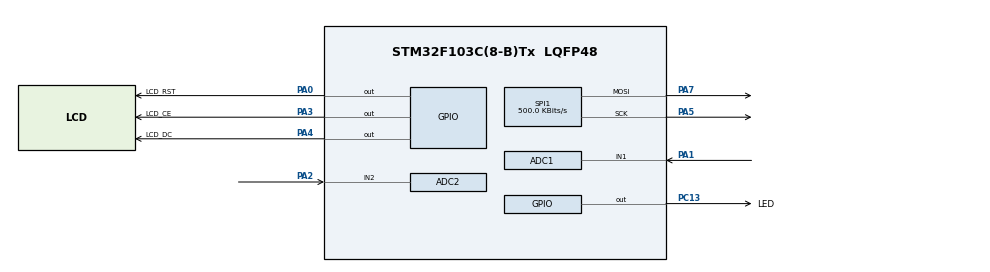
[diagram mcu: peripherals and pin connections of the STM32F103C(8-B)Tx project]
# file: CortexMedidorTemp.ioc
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ADC1.Channel-0\#ChannelRegularConversion=ADC_CHANNEL_1
ADC1.NbrOfConversionFlag=1
ADC1.Rank-0\#ChannelRegularConversion=1
ADC1.SamplingTime-0\#ChannelRegularConversion=ADC_SAMPLETIME_1CYCLE_5
ADC1.master=1
ADC2.Channel-0\#ChannelRegularConversion=ADC_CHANNEL_2
ADC2.NbrOfConversion=1
ADC2.NbrOfConversionFlag=1
ADC2.Rank-0\#ChannelRegularConversion=1
ADC2.SamplingTime-0\#ChannelRegularConversion=ADC_SAMPLETIME_1CYCLE_5
FREERTOS.Mutexes01=MutexS01,Dynamic,NULL;MutexS02,Dynamic,NULL;MutexSerial,Dynamic,NULL
FREERTOS.Tasks01=sensor01Task,0,128,StartSensor01Task,Default,NULL,Dynamic,NULL,NULL;sensor02Task,-3,128,StartSensor02Task,Default,NULL,Dynamic,NULL,NULL;displayTask,-3,128,StartdisplayTask,Default,NULL,Dynamic,NULL,NULL
Mcu.Family=STM32F1
Mcu.Name=STM32F103C(8-B)Tx
Mcu.Package=LQFP48
NVIC.PriorityGroup=NVIC_PRIORITYGROUP_4
NVIC.TIM1_UP_IRQn=true\:0\:0\:false\:false\:true\:false\:false\:true
NVIC.TimeBase=TIM1_UP_IRQn
NVIC.TimeBaseIP=TIM1
PA0-WKUP.GPIO_Label=LCD_RST
PA0-WKUP.Signal=GPIO_Output
PA1.Signal=ADCx_IN1
PA13.Mode=Serial_Wire
PA13.Signal=SYS_JTMS-SWDIO
PA14.Mode=Serial_Wire
PA14.Signal=SYS_JTCK-SWCLK
PA2.Signal=ADCx_IN2
PA3.GPIO_Label=LCD_CE
PA3.Signal=GPIO_Output
PA4.GPIO_Label=LCD_DC
PA4.Signal=GPIO_Output
PA5.Mode=TX_Only_Simplex_Unidirect_Master
PA5.Signal=SPI1_SCK
PA7.Mode=TX_Only_Simplex_Unidirect_Master
PA7.Signal=SPI1_MOSI
PC13-TAMPER-RTC.GPIO_Label=LED
PC13-TAMPER-RTC.Signal=GPIO_Output
ProjectManager.HeapSize=0x200
ProjectManager.StackSize=0x400
ProjectManager.TargetToolchain=STM32CubeIDE
RCC.APB1Freq_Value=8000000
RCC.APB2Freq_Value=8000000
SH.ADCx_IN1.0=ADC1_IN1,IN1
SH.ADCx_IN2.0=ADC2_IN2,IN2
SPI1.BaudRatePrescaler=SPI_BAUDRATEPRESCALER_16
SPI1.CalculateBaudRate=500.0 KBits/s
SPI1.Direction=SPI_DIRECTION_2LINES
SPI1.Mode=SPI_MODE_MASTER
SPI1.VirtualType=VM_MASTER
VP_FREERTOS_VS_CMSIS_V1.Mode=CMSIS_V1
VP_SYS_VS_tim1.Mode=TIM1
board=custom

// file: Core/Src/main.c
/* USER CODE BEGIN Header */
/**
  ******************************************************************************
  * @file           : main.c
  * @brief          : Main program body
  ******************************************************************************
  * @attention
  *
  * <h2><center>&copy; Copyright (c) 2020 STMicroelectronics.
  * All rights reserved.</center></h2>
  *
  * This software component is licensed by ST under BSD 3-Clause license,
  * the "License"; You may not use this file except in compliance with the
  * License. You may obtain a copy of the License at:
  *                        opensource.org/licenses/BSD-3-Clause
  *
  ******************************************************************************
  */
/* USER CODE END Header */
#include "main.h"
#include "cmsis_os.h"

/* USER CODE BEGIN Includes */
#include "user_5110.h"
#include <stdio.h>
/* USER CODE END Includes */

/* USER CODE BEGIN PTD */
struct leitorAD{
	int32_t buffer[10];
	int length;
	int current;
};
struct leitorAD ad1;
struct leitorAD ad2;
char buffer[50];
/* USER CODE END PTD */

ADC_HandleTypeDef hadc1;
ADC_HandleTypeDef hadc2;

SPI_HandleTypeDef hspi1;

osThreadId sensor01TaskHandle;
osThreadId sensor02TaskHandle;
osThreadId displayTaskHandle;
osMutexId MutexS01Handle;
osMutexId MutexS02Handle;
osMutexId MutexSerialHandle;

void SystemClock_Config(void);
static void MX_GPIO_Init(void);
static void MX_SPI1_Init(void);
static void MX_ADC1_Init(void);
static void MX_ADC2_Init(void);
void StartSensor01Task(void const * argument);
void StartSensor02Task(void const * argument);
void StartdisplayTask(void const * argument);

/* USER CODE BEGIN PFP */
static int32_t adRead(ADC_HandleTypeDef* hadc);
static void init(struct leitorAD* this);
static void next(struct leitorAD* this);
static void writeBuffer(struct leitorAD* this,int num);
static int calcMedia(struct leitorAD* this);
static int getTemp(struct leitorAD* this);
static int difTemp(struct leitorAD* this, struct leitorAD* other);
static int diftep(int a,int b){int n = a-b;return n<0?-n:n;}
static void writeSafe(struct leitorAD* this,osMutexId* mutex,ADC_HandleTypeDef* hadc);
static int getSafe(struct leitorAD* this,osMutexId* mutex);
static void writeSerialSafe(int line,char* word);
/* USER CODE END PFP */

int main(void)
{

  /* MCU Configuration--------------------------------------------------------*/

  /* Reset of all peripherals, Initializes the Flash interface and the Systick. */
  HAL_Init();

  /* Configure the system clock */
  SystemClock_Config();

  /* Initialize all configured peripherals */
  MX_GPIO_Init();
  MX_SPI1_Init();
  MX_ADC1_Init();
  MX_ADC2_Init();
  /* USER CODE BEGIN 2 */
  init(&ad1);
  init(&ad2);
//  LCD_Init();
//  LCD_Write_String(0,0, "teste");
  /* USER CODE END 2 */

  /* Create the mutex(es) */
  /* definition and creation of MutexS01 */
  osMutexDef(MutexS01);
  MutexS01Handle = osMutexCreate(osMutex(MutexS01));

  /* definition and creation of MutexS02 */
  osMutexDef(MutexS02);
  MutexS02Handle = osMutexCreate(osMutex(MutexS02));

  /* definition and creation of MutexSerial */
  osMutexDef(MutexSerial);
  MutexSerialHandle = osMutexCreate(osMutex(MutexSerial));

  /* Create the thread(s) */
  /* definition and creation of sensor01Task */
  osThreadDef(sensor01Task, StartSensor01Task, osPriorityNormal, 0, 128);
  sensor01TaskHandle = osThreadCreate(osThread(sensor01Task), NULL);

  /* definition and creation of sensor02Task */
  osThreadDef(sensor02Task, StartSensor02Task, osPriorityIdle, 0, 128);
  sensor02TaskHandle = osThreadCreate(osThread(sensor02Task), NULL);

  /* definition and creation of displayTask */
  osThreadDef(displayTask, StartdisplayTask, osPriorityIdle, 0, 128);
  displayTaskHandle = osThreadCreate(osThread(displayTask), NULL);

  /* Start scheduler */
  osKernelStart();

  /* We should never get here as control is now taken by the scheduler */
  /* Infinite loop */
  /* USER CODE BEGIN WHILE */
  while (1)
  {
//	  HAL_GPIO_TogglePin(LED_GPIO_Port, LED_Pin);
//	  HAL_Delay(1000);
//	  writeBuffer(&ad1, adRead(&hadc1));
//	  sprintf(buffer,"%04d C",getTemp(&ad1));
//	  LCD_Write_String(0, 1, buffer);
//	  writeBuffer(&ad2, adRead(&hadc2));
//	  sprintf(buffer,"%04d C",getTemp(&ad2));
//	  LCD_Write_String(0, 2, buffer);
//	  HAL_Delay(200);
    /* USER CODE END WHILE */

  }
}

void SystemClock_Config(void)
{
  RCC_OscInitTypeDef RCC_OscInitStruct = {0};
  RCC_ClkInitTypeDef RCC_ClkInitStruct = {0};
  RCC_PeriphCLKInitTypeDef PeriphClkInit = {0};

  /** Initializes the RCC Oscillators according to the specified parameters
  * in the RCC_OscInitTypeDef structure.
  */
  RCC_OscInitStruct.OscillatorType = RCC_OSCILLATORTYPE_HSI;
  RCC_OscInitStruct.HSIState = RCC_HSI_ON;
  RCC_OscInitStruct.HSICalibrationValue = RCC_HSICALIBRATION_DEFAULT;
  RCC_OscInitStruct.PLL.PLLState = RCC_PLL_NONE;
  if (HAL_RCC_OscConfig(&RCC_OscInitStruct) != HAL_OK)
  {
    Error_Handler();
  }
  /** Initializes the CPU, AHB and APB buses clocks
  */
  RCC_ClkInitStruct.ClockType = RCC_CLOCKTYPE_HCLK|RCC_CLOCKTYPE_SYSCLK
                              |RCC_CLOCKTYPE_PCLK1|RCC_CLOCKTYPE_PCLK2;
  RCC_ClkInitStruct.SYSCLKSource = RCC_SYSCLKSOURCE_HSI;
  RCC_ClkInitStruct.AHBCLKDivider = RCC_SYSCLK_DIV1;
  RCC_ClkInitStruct.APB1CLKDivider = RCC_HCLK_DIV1;
  RCC_ClkInitStruct.APB2CLKDivider = RCC_HCLK_DIV1;

  if (HAL_RCC_ClockConfig(&RCC_ClkInitStruct, FLASH_LATENCY_0) != HAL_OK)
  {
    Error_Handler();
  }
  PeriphClkInit.PeriphClockSelection = RCC_PERIPHCLK_ADC;
  PeriphClkInit.AdcClockSelection = RCC_ADCPCLK2_DIV2;
  if (HAL_RCCEx_PeriphCLKConfig(&PeriphClkInit) != HAL_OK)
  {
    Error_Handler();
  }
}

static void MX_ADC1_Init(void)
{

  ADC_ChannelConfTypeDef sConfig = {0};

  /** Common config
  */
  hadc1.Instance = ADC1;
  hadc1.Init.ScanConvMode = ADC_SCAN_DISABLE;
  hadc1.Init.ContinuousConvMode = DISABLE;
  hadc1.Init.DiscontinuousConvMode = DISABLE;
  hadc1.Init.ExternalTrigConv = ADC_SOFTWARE_START;
  hadc1.Init.DataAlign = ADC_DATAALIGN_RIGHT;
  hadc1.Init.NbrOfConversion = 1;
  if (HAL_ADC_Init(&hadc1) != HAL_OK)
  {
    Error_Handler();
  }
  /** Configure Regular Channel
  */
  sConfig.Channel = ADC_CHANNEL_1;
  sConfig.Rank = ADC_REGULAR_RANK_1;
  sConfig.SamplingTime = ADC_SAMPLETIME_1CYCLE_5;
  if (HAL_ADC_ConfigChannel(&hadc1, &sConfig) != HAL_OK)
  {
    Error_Handler();
  }

}

static void MX_ADC2_Init(void)
{

  ADC_ChannelConfTypeDef sConfig = {0};

  /** Common config
  */
  hadc2.Instance = ADC2;
  hadc2.Init.ScanConvMode = ADC_SCAN_DISABLE;
  hadc2.Init.ContinuousConvMode = DISABLE;
  hadc2.Init.DiscontinuousConvMode = DISABLE;
  hadc2.Init.ExternalTrigConv = ADC_SOFTWARE_START;
  hadc2.Init.DataAlign = ADC_DATAALIGN_RIGHT;
  hadc2.Init.NbrOfConversion = 1;
  if (HAL_ADC_Init(&hadc2) != HAL_OK)
  {
    Error_Handler();
  }
  /** Configure Regular Channel
  */
  sConfig.Channel = ADC_CHANNEL_2;
  sConfig.Rank = ADC_REGULAR_RANK_1;
  sConfig.SamplingTime = ADC_SAMPLETIME_1CYCLE_5;
  if (HAL_ADC_ConfigChannel(&hadc2, &sConfig) != HAL_OK)
  {
    Error_Handler();
  }

}

static void MX_SPI1_Init(void)
{

  /* SPI1 parameter configuration*/
  hspi1.Instance = SPI1;
  hspi1.Init.Mode = SPI_MODE_MASTER;
  hspi1.Init.Direction = SPI_DIRECTION_2LINES;
  hspi1.Init.DataSize = SPI_DATASIZE_8BIT;
  hspi1.Init.CLKPolarity = SPI_POLARITY_LOW;
  hspi1.Init.CLKPhase = SPI_PHASE_1EDGE;
  hspi1.Init.NSS = SPI_NSS_SOFT;
  hspi1.Init.BaudRatePrescaler = SPI_BAUDRATEPRESCALER_16;
  hspi1.Init.FirstBit = SPI_FIRSTBIT_MSB;
  hspi1.Init.TIMode = SPI_TIMODE_DISABLE;
  hspi1.Init.CRCCalculation = SPI_CRCCALCULATION_DISABLE;
  hspi1.Init.CRCPolynomial = 10;
  if (HAL_SPI_Init(&hspi1) != HAL_OK)
  {
    Error_Handler();
  }

}

static void MX_GPIO_Init(void)
{
  GPIO_InitTypeDef GPIO_InitStruct = {0};

  /* GPIO Ports Clock Enable */
  __HAL_RCC_GPIOC_CLK_ENABLE();
  __HAL_RCC_GPIOA_CLK_ENABLE();

  /*Configure GPIO pin Output Level */
  HAL_GPIO_WritePin(LED_GPIO_Port, LED_Pin, GPIO_PIN_RESET);

  /*Configure GPIO pin Output Level */
  HAL_GPIO_WritePin(GPIOA, LCD_RST_Pin|LCD_CE_Pin|LCD_DC_Pin, GPIO_PIN_RESET);

  /*Configure GPIO pin : LED_Pin */
  GPIO_InitStruct.Pin = LED_Pin;
  GPIO_InitStruct.Mode = GPIO_MODE_OUTPUT_PP;
  GPIO_InitStruct.Pull = GPIO_NOPULL;
  GPIO_InitStruct.Speed = GPIO_SPEED_FREQ_LOW;
  HAL_GPIO_Init(LED_GPIO_Port, &GPIO_InitStruct);

  /*Configure GPIO pins : LCD_RST_Pin LCD_CE_Pin LCD_DC_Pin */
  GPIO_InitStruct.Pin = LCD_RST_Pin|LCD_CE_Pin|LCD_DC_Pin;
  GPIO_InitStruct.Mode = GPIO_MODE_OUTPUT_PP;
  GPIO_InitStruct.Pull = GPIO_NOPULL;
  GPIO_InitStruct.Speed = GPIO_SPEED_FREQ_LOW;
  HAL_GPIO_Init(GPIOA, &GPIO_InitStruct);

}

/* USER CODE BEGIN 4 */
static int32_t adRead(ADC_HandleTypeDef* hadc){
	HAL_ADC_Start(hadc);
	while(HAL_ADC_PollForConversion(hadc, 5)!= HAL_OK){}
	return HAL_ADC_GetValue(hadc);
}
static void next(struct leitorAD* this){
	this->current=(this->current+1)%this->length;
}
static void init(struct leitorAD* this){
	this->current =0;
	this->length =10;
	for(int i =0 ;i<this->length;i++){
		this->buffer[i]=0;
	}
}
static void writeBuffer(struct leitorAD* this,int num){
	this->buffer[this->current]=num;
	next(this);
}
static int calcMedia(struct leitorAD* this){
	int soma =0;
	for(int i = 0; i<this->length;i++){
		soma += this->buffer[i];
	}
	return soma/this->length;
}
static int getTemp(struct leitorAD* this){
	return 100*calcMedia(this)/4095;
}
static int difTemp(struct leitorAD* this, struct leitorAD* other){
	int val = getTemp(this)-getTemp(other);
	return val<0?-val:val;
}
static void writeSafe(struct leitorAD* this,osMutexId* mutex,ADC_HandleTypeDef* hadc){
	osMutexWait(*mutex, 100);
	writeBuffer(this, adRead(hadc));
	osMutexRelease(*mutex);
}
static int getSafe(struct leitorAD* this,osMutexId* mutex){
	osMutexWait(*mutex, 150);
	int temp = getTemp(this);
	osMutexRelease(*mutex);
	return temp;
}
static void writeSerialSafe(int line,char* word){
	osMutexWait(MutexSerialHandle, 100);
	LCD_Write_String(0, line, word);
	osMutexRelease(MutexSerialHandle);
}
/* USER CODE END 4 */

void StartSensor01Task(void const * argument)
{
  /* USER CODE BEGIN 5 */
  /* Infinite loop */
  for(;;)
  {
	  writeSafe(&ad1, &MutexS01Handle, &hadc1);
	  osDelay(300);
  }
  /* USER CODE END 5 */
}

void StartSensor02Task(void const * argument)
{
  /* USER CODE BEGIN StartSensor02Task */
  /* Infinite loop */
  for(;;)
  {
	writeSafe(&ad2, &MutexS02Handle, &hadc2);
    osDelay(300);
  }
  /* USER CODE END StartSensor02Task */
}

void StartdisplayTask(void const * argument)
{
  /* USER CODE BEGIN StartdisplayTask */
  /* Infinite loop */
	LCD_Init();
	LCD_Write_String(0, 0, "Temperatura:");
  for(;;)
  {
	int t1= getSafe(&ad1, &MutexS01Handle);
	int t2= getSafe(&ad2, &MutexS02Handle);
	sprintf(buffer,"T1 %03d C",t1);
	writeSerialSafe(1, buffer);
	sprintf(buffer,"T2 %03d C",t2);
	writeSerialSafe(2, buffer);
	if(diftep(t1, t2)>10){
		writeSerialSafe(3, "Alerta");
		HAL_GPIO_WritePin(LED_GPIO_Port, LED_Pin, 0);
	}else{
		writeSerialSafe(3, "------");
		HAL_GPIO_WritePin(LED_GPIO_Port, LED_Pin, 1);
	}
	osDelay(5000);
  }
  /* USER CODE END StartdisplayTask */
}

void HAL_TIM_PeriodElapsedCallback(TIM_HandleTypeDef *htim)
{
  if (htim->Instance == TIM1) {
    HAL_IncTick();
  }
}

void Error_Handler(void)
{
}

/************************ (C) COPYRIGHT STMicroelectronics *****END OF FILE****/
